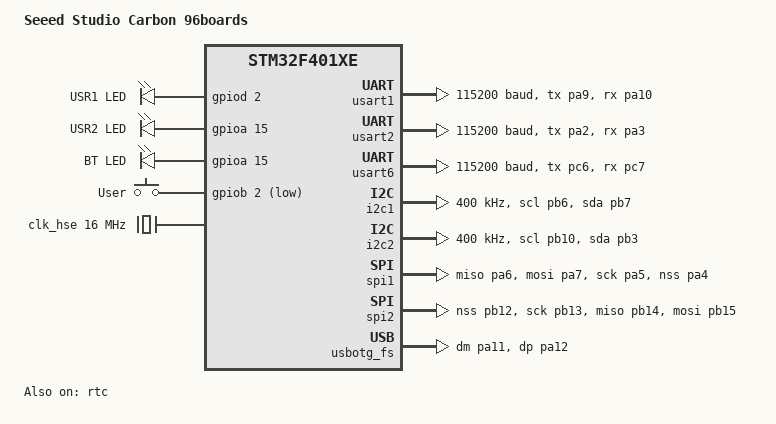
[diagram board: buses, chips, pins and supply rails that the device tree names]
/*
 * Copyright (c) 2017 Linaro Limited
 *
 * SPDX-License-Identifier: Apache-2.0
 */

/dts-v1/;
#include <st/f4/stm32f401Xe.dtsi>
#include <st/f4/stm32f401r(d-e)tx-pinctrl.dtsi>
#include "96b_lscon.dtsi"

/ {
	model = "Seeed Studio Carbon 96boards";
	compatible = "seeed,carbon";

	chosen {
		zephyr,console = &usart1;
		zephyr,shell-uart = &usart1;
		zephyr,sram = &sram0;
		zephyr,flash = &flash0;
		zephyr,code-partition = &slot0_partition;
	};

	leds {
		compatible = "gpio-leds";
		green_led_1: led_1 {
			gpios = <&gpiod 2 GPIO_ACTIVE_HIGH>;
			label = "USR1 LED";
		};
		green_led_2: led_2 {
			gpios = <&gpioa 15 GPIO_ACTIVE_HIGH>;
			label = "USR2 LED";
		};
		bt_blue_led: led_3 {
			gpios = <&gpioa 15 GPIO_ACTIVE_HIGH>;
			label = "BT LED";
		};
	};

	gpio_keys {
		compatible = "gpio-keys";
		user_button: button {
			label = "User";
			gpios = <&gpiob 2 GPIO_ACTIVE_LOW>;
		};
	};

	aliases {
		led0 = &green_led_1;
		led1 = &green_led_2;
		led2 = &bt_blue_led;
		sw0 = &user_button;
	};
};

&clk_lsi {
	status = "okay";
};

&clk_hse {
	clock-frequency = <DT_FREQ_M(16)>;
	status = "okay";
};

&pll {
	div-m = <16>;
	mul-n = <336>;
	div-p = <4>;
	div-q = <7>;
	clocks = <&clk_hse>;
	status = "okay";
};

&rcc {
	clocks = <&pll>;
	clock-frequency = <DT_FREQ_M(84)>;
	ahb-prescaler = <1>;
	apb1-prescaler = <2>;
	apb2-prescaler = <1>;
};

&usart1 {
	pinctrl-0 = <&usart1_tx_pa9 &usart1_rx_pa10>;
	pinctrl-names = "default";
	current-speed = <115200>;
	status = "okay";
};

&usart2 {
	pinctrl-0 = <&usart2_tx_pa2 &usart2_rx_pa3>;
	pinctrl-names = "default";
	current-speed = <115200>;
	status = "okay";
};

&usart6 {
	pinctrl-0 = <&usart6_tx_pc6 &usart6_rx_pc7>;
	pinctrl-names = "default";
	current-speed = <115200>;
	status = "okay";
};

&i2c1 {
	pinctrl-0 = <&i2c1_scl_pb6 &i2c1_sda_pb7>;
	pinctrl-names = "default";
	status = "okay";
	clock-frequency = <I2C_BITRATE_FAST>;
};

&i2c2 {
	pinctrl-0 = <&i2c2_scl_pb10 &i2c2_sda_pb3>;
	pinctrl-names = "default";
	status = "okay";
	clock-frequency = <I2C_BITRATE_FAST>;
};

&spi1 {
	status = "okay";

	pinctrl-0 = <&spi1_miso_pa6 &spi1_mosi_pa7
		     &spi1_sck_pa5 &spi1_nss_pa4>;
	pinctrl-names = "default";

	/* Nordic nRF51822-QFAC */
	bt-hci@0 {
		compatible = "zephyr,bt-hci-spi";
		reg = <0>;
		reset-gpios = <&gpiob 4 (GPIO_ACTIVE_LOW | GPIO_PULL_UP)>;
		irq-gpios = <&gpiob 1 GPIO_ACTIVE_HIGH>;
		spi-max-frequency = <2000000>;
	};
};

&spi2 {
	pinctrl-0 = <&spi2_nss_pb12 &spi2_sck_pb13
		     &spi2_miso_pb14 &spi2_mosi_pb15>;
	pinctrl-names = "default";
	status = "okay";
};

zephyr_udc0: &usbotg_fs {
	pinctrl-0 = <&usb_otg_fs_dm_pa11 &usb_otg_fs_dp_pa12>;
	pinctrl-names = "default";
	status = "okay";
};

&flash0 {

	partitions {
		compatible = "fixed-partitions";
		#address-cells = <1>;
		#size-cells = <1>;

		boot_partition: partition@0 {
			label = "mcuboot";
			reg = <0x00000000 DT_SIZE_K(32)>;
			read-only;
		};

		/*
		 * The flash starting at offset 0x00008000 and ending at
		 * offset 0x0001ffff (sectors 2 through 4) is reserved for
		 * use by the application.
		 */

		slot0_partition: partition@20000 {
			label = "image-0";
			reg = <0x00020000 DT_SIZE_K(128)>;
		};
		slot1_partition: partition@40000 {
			label = "image-1";
			reg = <0x00040000 DT_SIZE_K(128)>;
		};
		scratch_partition: partition@60000 {
			label = "image-scratch";
			reg = <0x00060000 DT_SIZE_K(128)>;
		};
	};
};

&rtc {
	clocks = <&rcc STM32_CLOCK_BUS_APB1 0x10000000>,
		 <&rcc STM32_SRC_LSI RTC_SEL(2)>;
	status = "okay";
};
